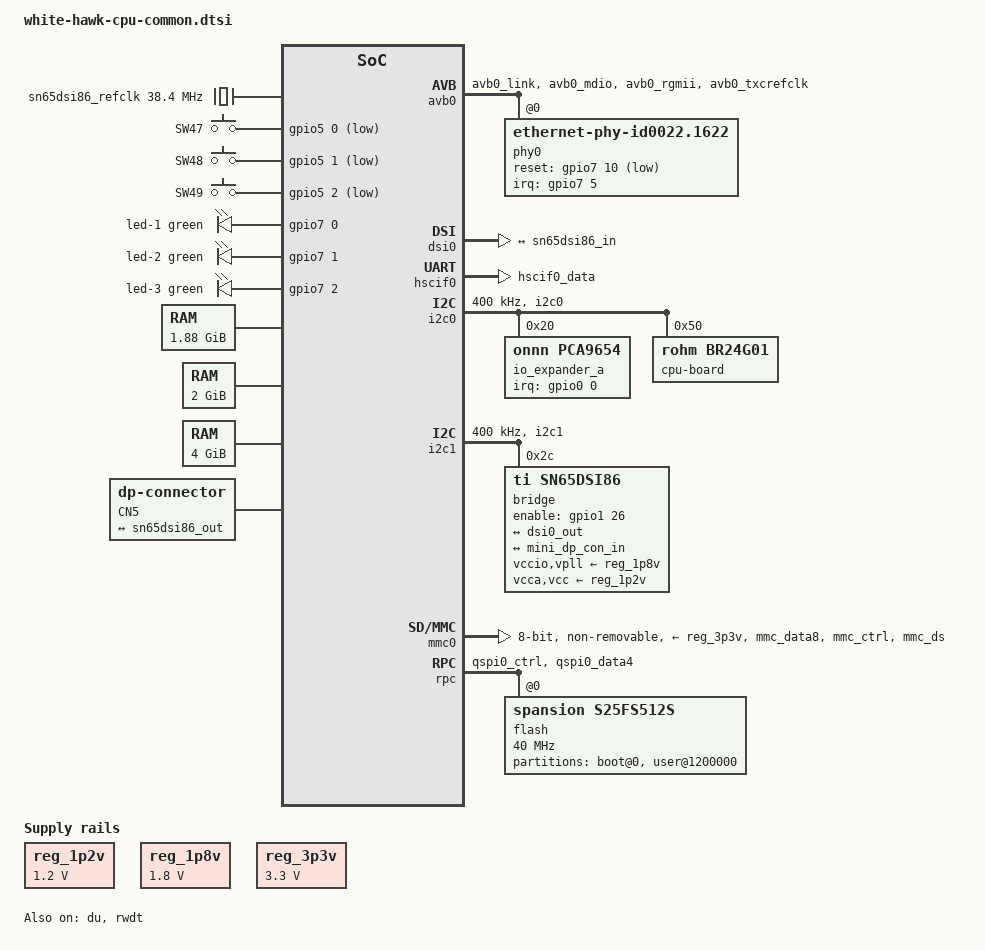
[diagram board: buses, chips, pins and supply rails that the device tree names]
// SPDX-License-Identifier: (GPL-2.0-only OR BSD-2-Clause)
/*
 * Device Tree Source for the common parts shared by the White Hawk CPU and
 * White Hawk Single boards
 *
 * Copyright (C) 2022 Renesas Electronics Corp.
 */

#include <dt-bindings/gpio/gpio.h>
#include <dt-bindings/input/input.h>
#include <dt-bindings/leds/common.h>

/ {
	aliases {
		ethernet0 = &avb0;
		serial0 = &hscif0;
	};

	chosen {
		bootargs = "ignore_loglevel rw root=/dev/nfs ip=on";
		stdout-path = "serial0:921600n8";
	};

	sn65dsi86_refclk: clk-x6 {
		compatible = "fixed-clock";
		#clock-cells = <0>;
		clock-frequency = <38400000>;
	};

	keys {
		compatible = "gpio-keys";

		pinctrl-0 = <&keys_pins>;
		pinctrl-names = "default";

		key-1 {
			gpios = <&gpio5 0 GPIO_ACTIVE_LOW>;
			linux,code = <KEY_1>;
			label = "SW47";
			wakeup-source;
			debounce-interval = <20>;
		};

		key-2 {
			gpios = <&gpio5 1 GPIO_ACTIVE_LOW>;
			linux,code = <KEY_2>;
			label = "SW48";
			wakeup-source;
			debounce-interval = <20>;
		};

		key-3 {
			gpios = <&gpio5 2 GPIO_ACTIVE_LOW>;
			linux,code = <KEY_3>;
			label = "SW49";
			wakeup-source;
			debounce-interval = <20>;
		};
	};

	leds {
		compatible = "gpio-leds";

		led-1 {
			gpios = <&gpio7 0 GPIO_ACTIVE_HIGH>;
			color = <LED_COLOR_ID_GREEN>;
			function = LED_FUNCTION_INDICATOR;
			function-enumerator = <1>;
		};

		led-2 {
			gpios = <&gpio7 1 GPIO_ACTIVE_HIGH>;
			color = <LED_COLOR_ID_GREEN>;
			function = LED_FUNCTION_INDICATOR;
			function-enumerator = <2>;
		};

		led-3 {
			gpios = <&gpio7 2 GPIO_ACTIVE_HIGH>;
			color = <LED_COLOR_ID_GREEN>;
			function = LED_FUNCTION_INDICATOR;
			function-enumerator = <3>;
		};
	};

	memory@48000000 {
		device_type = "memory";
		/* first 128MB is reserved for secure area. */
		reg = <0x0 0x48000000 0x0 0x78000000>;
	};

	memory@480000000 {
		device_type = "memory";
		reg = <0x4 0x80000000 0x0 0x80000000>;
	};

	memory@600000000 {
		device_type = "memory";
		reg = <0x6 0x00000000 0x1 0x00000000>;
	};

	mini-dp-con {
		compatible = "dp-connector";
		label = "CN5";
		type = "mini";

		port {
			mini_dp_con_in: endpoint {
				remote-endpoint = <&sn65dsi86_out>;
			};
		};
	};

	reg_1p2v: regulator-1p2v {
		compatible = "regulator-fixed";
		regulator-name = "fixed-1.2V";
		regulator-min-microvolt = <1200000>;
		regulator-max-microvolt = <1200000>;
		regulator-boot-on;
		regulator-always-on;
	};

	reg_1p8v: regulator-1p8v {
		compatible = "regulator-fixed";
		regulator-name = "fixed-1.8V";
		regulator-min-microvolt = <1800000>;
		regulator-max-microvolt = <1800000>;
		regulator-boot-on;
		regulator-always-on;
	};

	reg_3p3v: regulator-3p3v {
		compatible = "regulator-fixed";
		regulator-name = "fixed-3.3V";
		regulator-min-microvolt = <3300000>;
		regulator-max-microvolt = <3300000>;
		regulator-boot-on;
		regulator-always-on;
	};
};

&avb0 {
	pinctrl-0 = <&avb0_pins>;
	pinctrl-names = "default";
	phy-handle = <&phy0>;
	tx-internal-delay-ps = <2000>;
	status = "okay";

	phy0: ethernet-phy@0 {
		compatible = "ethernet-phy-id0022.1622",
			     "ethernet-phy-ieee802.3-c22";
		rxc-skew-ps = <1500>;
		reg = <0>;
		interrupt-parent = <&gpio7>;
		interrupts = <5 IRQ_TYPE_LEVEL_LOW>;
		reset-gpios = <&gpio7 10 GPIO_ACTIVE_LOW>;
	};
};

&dsi0 {
	status = "okay";

	ports {
		port@1 {
			dsi0_out: endpoint {
				remote-endpoint = <&sn65dsi86_in>;
				data-lanes = <1 2 3 4>;
			};
		};
	};
};

&du {
	status = "okay";
};

&extal_clk {
	clock-frequency = <16666666>;
};

&extalr_clk {
	clock-frequency = <32768>;
};

&hscif0 {
	pinctrl-0 = <&hscif0_pins>;
	pinctrl-names = "default";

	status = "okay";
};

&i2c0 {
	pinctrl-0 = <&i2c0_pins>;
	pinctrl-names = "default";

	status = "okay";
	clock-frequency = <400000>;

	io_expander_a: gpio@20 {
		compatible = "onnn,pca9654";
		reg = <0x20>;
		interrupt-parent = <&gpio0>;
		interrupts = <0 IRQ_TYPE_LEVEL_LOW>;
		gpio-controller;
		#gpio-cells = <2>;
		interrupt-controller;
		#interrupt-cells = <2>;
	};

	eeprom@50 {
		compatible = "rohm,br24g01", "atmel,24c01";
		label = "cpu-board";
		reg = <0x50>;
		pagesize = <8>;
	};
};

&i2c1 {
	pinctrl-0 = <&i2c1_pins>;
	pinctrl-names = "default";

	status = "okay";
	clock-frequency = <400000>;

	bridge@2c {
		compatible = "ti,sn65dsi86";
		reg = <0x2c>;

		clocks = <&sn65dsi86_refclk>;
		clock-names = "refclk";

		interrupt-parent = <&intc_ex>;
		interrupts = <0 IRQ_TYPE_LEVEL_HIGH>;

		enable-gpios = <&gpio1 26 GPIO_ACTIVE_HIGH>;

		vccio-supply = <&reg_1p8v>;
		vpll-supply = <&reg_1p8v>;
		vcca-supply = <&reg_1p2v>;
		vcc-supply = <&reg_1p2v>;

		ports {
			#address-cells = <1>;
			#size-cells = <0>;

			port@0 {
				reg = <0>;
				sn65dsi86_in: endpoint {
					remote-endpoint = <&dsi0_out>;
				};
			};

			port@1 {
				reg = <1>;
				sn65dsi86_out: endpoint {
					remote-endpoint = <&mini_dp_con_in>;
				};
			};
		};
	};
};

&mmc0 {
	pinctrl-0 = <&mmc_pins>;
	pinctrl-1 = <&mmc_pins>;
	pinctrl-names = "default", "state_uhs";

	vmmc-supply = <&reg_3p3v>;
	vqmmc-supply = <&reg_1p8v>;
	mmc-hs200-1_8v;
	mmc-hs400-1_8v;
	bus-width = <8>;
	no-sd;
	no-sdio;
	non-removable;
	full-pwr-cycle-in-suspend;
	status = "okay";
};

&pfc {
	pinctrl-0 = <&scif_clk_pins>;
	pinctrl-names = "default";

	avb0_pins: avb0 {
		mux {
			groups = "avb0_link", "avb0_mdio", "avb0_rgmii",
				 "avb0_txcrefclk";
			function = "avb0";
		};

		pins_mdio {
			groups = "avb0_mdio";
			drive-strength = <21>;
		};

		pins_mii {
			groups = "avb0_rgmii";
			drive-strength = <21>;
		};

	};

	hscif0_pins: hscif0 {
		groups = "hscif0_data";
		function = "hscif0";
	};

	i2c0_pins: i2c0 {
		groups = "i2c0";
		function = "i2c0";
	};

	i2c1_pins: i2c1 {
		groups = "i2c1";
		function = "i2c1";
	};

	keys_pins: keys {
		pins = "GP_5_0", "GP_5_1", "GP_5_2";
		bias-pull-up;
	};

	mmc_pins: mmc {
		groups = "mmc_data8", "mmc_ctrl", "mmc_ds";
		function = "mmc";
		power-source = <1800>;
	};

	qspi0_pins: qspi0 {
		groups = "qspi0_ctrl", "qspi0_data4";
		function = "qspi0";
	};

	scif_clk_pins: scif_clk {
		groups = "scif_clk";
		function = "scif_clk";
	};
};

&rpc {
	pinctrl-0 = <&qspi0_pins>;
	pinctrl-names = "default";

	status = "okay";

	flash@0 {
		compatible = "spansion,s25fs512s", "jedec,spi-nor";
		reg = <0>;
		spi-max-frequency = <40000000>;
		spi-rx-bus-width = <4>;

		partitions {
			compatible = "fixed-partitions";
			#address-cells = <1>;
			#size-cells = <1>;

			boot@0 {
				reg = <0x0 0x1200000>;
				read-only;
			};
			user@1200000 {
				reg = <0x1200000 0x2e00000>;
			};
		};
	};
};

&rwdt {
	timeout-sec = <60>;
	status = "okay";
};

&scif_clk {
	clock-frequency = <24000000>;
};
